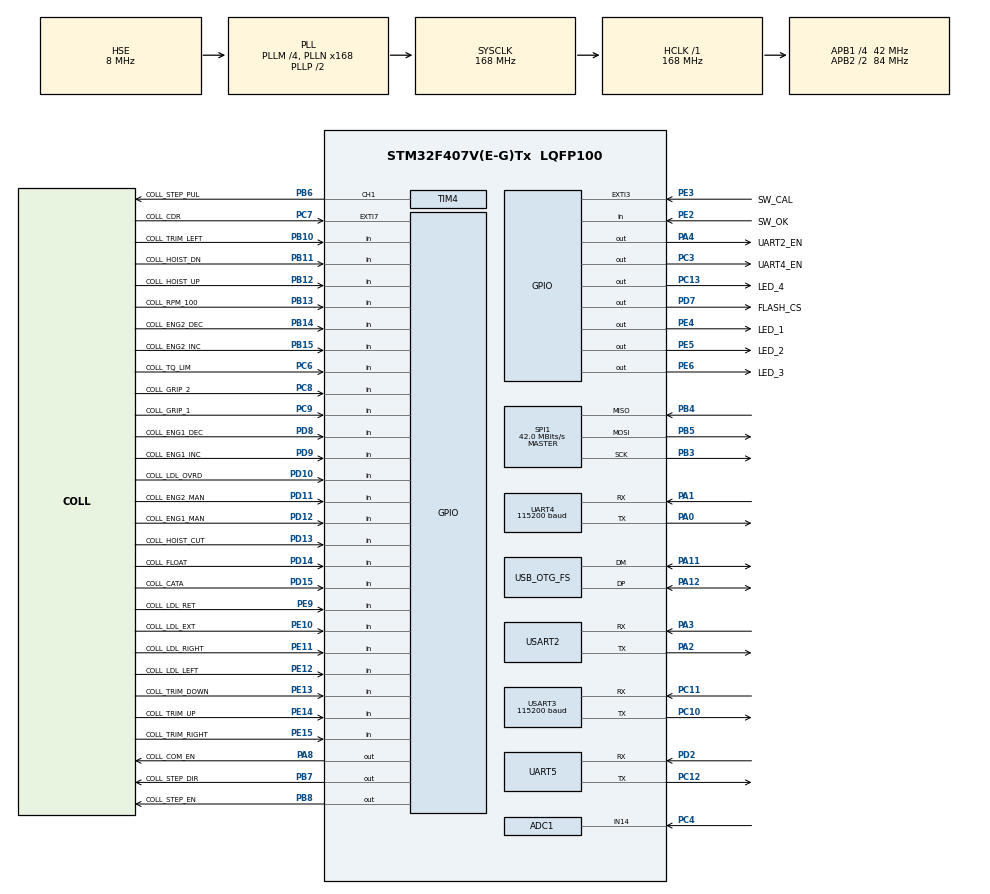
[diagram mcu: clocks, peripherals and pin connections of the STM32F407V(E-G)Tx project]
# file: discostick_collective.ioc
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ADC1.Channel-2\#ChannelRegularConversion=ADC_CHANNEL_14
ADC1.ContinuousConvMode=ENABLE
ADC1.DMAContinuousRequests=ENABLE
ADC1.EOCSelection=ADC_EOC_SEQ_CONV
ADC1.NbrOfConversion=1
ADC1.NbrOfConversionFlag=1
ADC1.Rank-2\#ChannelRegularConversion=1
ADC1.SamplingTime-2\#ChannelRegularConversion=ADC_SAMPLETIME_112CYCLES
ADC1.master=1
Dma.ADC1.4.Direction=DMA_PERIPH_TO_MEMORY
Dma.ADC1.4.FIFOMode=DMA_FIFOMODE_DISABLE
Dma.ADC1.4.Instance=DMA2_Stream0
Dma.ADC1.4.MemDataAlignment=DMA_MDATAALIGN_HALFWORD
Dma.ADC1.4.MemInc=DMA_MINC_ENABLE
Dma.ADC1.4.Mode=DMA_CIRCULAR
Dma.ADC1.4.PeriphDataAlignment=DMA_PDATAALIGN_HALFWORD
Dma.ADC1.4.PeriphInc=DMA_PINC_DISABLE
Dma.ADC1.4.Priority=DMA_PRIORITY_HIGH
Dma.Request0=USART3_RX
Dma.Request1=USART3_TX
Dma.Request2=UART4_RX
Dma.Request3=UART4_TX
Dma.Request4=ADC1
Dma.Request5=USART2_RX
Dma.Request6=USART2_TX
Dma.UART4_RX.2.Direction=DMA_PERIPH_TO_MEMORY
Dma.UART4_RX.2.FIFOMode=DMA_FIFOMODE_DISABLE
Dma.UART4_RX.2.Instance=DMA1_Stream2
Dma.UART4_RX.2.MemDataAlignment=DMA_MDATAALIGN_BYTE
Dma.UART4_RX.2.MemInc=DMA_MINC_ENABLE
Dma.UART4_RX.2.Mode=DMA_CIRCULAR
Dma.UART4_RX.2.PeriphDataAlignment=DMA_PDATAALIGN_BYTE
Dma.UART4_RX.2.PeriphInc=DMA_PINC_DISABLE
Dma.UART4_RX.2.Priority=DMA_PRIORITY_LOW
Dma.UART4_TX.3.Direction=DMA_MEMORY_TO_PERIPH
Dma.UART4_TX.3.FIFOMode=DMA_FIFOMODE_DISABLE
Dma.UART4_TX.3.Instance=DMA1_Stream4
Dma.UART4_TX.3.MemDataAlignment=DMA_MDATAALIGN_BYTE
Dma.UART4_TX.3.MemInc=DMA_MINC_ENABLE
Dma.UART4_TX.3.Mode=DMA_NORMAL
Dma.UART4_TX.3.PeriphDataAlignment=DMA_PDATAALIGN_BYTE
Dma.UART4_TX.3.PeriphInc=DMA_PINC_DISABLE
Dma.UART4_TX.3.Priority=DMA_PRIORITY_LOW
Dma.USART2_RX.5.Direction=DMA_PERIPH_TO_MEMORY
Dma.USART2_RX.5.FIFOMode=DMA_FIFOMODE_DISABLE
Dma.USART2_RX.5.Instance=DMA1_Stream5
Dma.USART2_RX.5.MemDataAlignment=DMA_MDATAALIGN_BYTE
Dma.USART2_RX.5.MemInc=DMA_MINC_ENABLE
Dma.USART2_RX.5.Mode=DMA_CIRCULAR
Dma.USART2_RX.5.PeriphDataAlignment=DMA_PDATAALIGN_BYTE
Dma.USART2_RX.5.PeriphInc=DMA_PINC_DISABLE
Dma.USART2_RX.5.Priority=DMA_PRIORITY_LOW
Dma.USART2_TX.6.Direction=DMA_MEMORY_TO_PERIPH
Dma.USART2_TX.6.FIFOMode=DMA_FIFOMODE_DISABLE
Dma.USART2_TX.6.Instance=DMA1_Stream6
Dma.USART2_TX.6.MemDataAlignment=DMA_MDATAALIGN_BYTE
Dma.USART2_TX.6.MemInc=DMA_MINC_ENABLE
Dma.USART2_TX.6.Mode=DMA_NORMAL
Dma.USART2_TX.6.PeriphDataAlignment=DMA_PDATAALIGN_BYTE
Dma.USART2_TX.6.PeriphInc=DMA_PINC_DISABLE
Dma.USART2_TX.6.Priority=DMA_PRIORITY_LOW
Dma.USART3_RX.0.Direction=DMA_PERIPH_TO_MEMORY
Dma.USART3_RX.0.FIFOMode=DMA_FIFOMODE_DISABLE
Dma.USART3_RX.0.Instance=DMA1_Stream1
Dma.USART3_RX.0.MemDataAlignment=DMA_MDATAALIGN_BYTE
Dma.USART3_RX.0.MemInc=DMA_MINC_ENABLE
Dma.USART3_RX.0.Mode=DMA_CIRCULAR
Dma.USART3_RX.0.PeriphDataAlignment=DMA_PDATAALIGN_BYTE
Dma.USART3_RX.0.PeriphInc=DMA_PINC_DISABLE
Dma.USART3_RX.0.Priority=DMA_PRIORITY_LOW
Dma.USART3_TX.1.Direction=DMA_MEMORY_TO_PERIPH
Dma.USART3_TX.1.FIFOMode=DMA_FIFOMODE_DISABLE
Dma.USART3_TX.1.Instance=DMA1_Stream3
Dma.USART3_TX.1.MemDataAlignment=DMA_MDATAALIGN_BYTE
Dma.USART3_TX.1.MemInc=DMA_MINC_ENABLE
Dma.USART3_TX.1.Mode=DMA_NORMAL
Dma.USART3_TX.1.PeriphDataAlignment=DMA_PDATAALIGN_BYTE
Dma.USART3_TX.1.PeriphInc=DMA_PINC_DISABLE
Dma.USART3_TX.1.Priority=DMA_PRIORITY_LOW
Mcu.Family=STM32F4
Mcu.Name=STM32F407V(E-G)Tx
Mcu.Package=LQFP100
NVIC.ADC_IRQn=true\:0\:0\:false\:false\:true\:true\:true\:true
NVIC.DMA1_Stream1_IRQn=true\:0\:0\:false\:false\:true\:false\:true\:true
NVIC.DMA1_Stream2_IRQn=true\:0\:0\:false\:false\:true\:false\:true\:true
NVIC.DMA1_Stream3_IRQn=true\:0\:0\:false\:false\:true\:false\:true\:true
NVIC.DMA1_Stream4_IRQn=true\:0\:0\:false\:false\:true\:false\:true\:true
NVIC.DMA1_Stream5_IRQn=true\:0\:0\:false\:false\:true\:false\:true\:true
NVIC.DMA1_Stream6_IRQn=true\:0\:0\:false\:false\:true\:false\:true\:true
NVIC.DMA2_Stream0_IRQn=true\:0\:0\:false\:false\:true\:false\:true\:true
NVIC.EXTI3_IRQn=true\:0\:0\:false\:false\:true\:true\:true\:true
NVIC.EXTI9_5_IRQn=true\:0\:0\:false\:false\:true\:true\:true\:true
NVIC.OTG_FS_IRQn=true\:0\:0\:false\:false\:true\:false\:true\:true
NVIC.PriorityGroup=NVIC_PRIORITYGROUP_4
NVIC.TIM1_TRG_COM_TIM11_IRQn=true\:0\:0\:false\:false\:true\:true\:true\:true
NVIC.UART4_IRQn=true\:0\:0\:false\:false\:true\:true\:true\:true
NVIC.USART2_IRQn=true\:0\:0\:false\:false\:true\:true\:true\:true
NVIC.USART3_IRQn=true\:0\:0\:false\:false\:true\:true\:true\:true
PA0-WKUP.Mode=Asynchronous
PA0-WKUP.Signal=UART4_TX
PA1.Mode=Asynchronous
PA1.Signal=UART4_RX
PA10.Signal=USART1_RX
PA11.Mode=Device_Only
PA11.Signal=USB_OTG_FS_DM
PA12.Mode=Device_Only
PA12.Signal=USB_OTG_FS_DP
PA13.Mode=Serial_Wire
PA13.Signal=SYS_JTMS-SWDIO
PA14.Mode=Serial_Wire
PA14.Signal=SYS_JTCK-SWCLK
PA2.Mode=Asynchronous
PA2.Signal=USART2_TX
PA3.Mode=Asynchronous
PA3.Signal=USART2_RX
PA4.GPIO_Label=UART2_EN
PA4.Signal=GPIO_Output
PA8.GPIO_Label=COLL_COM_EN
PA8.Signal=GPIO_Output
PA9.Signal=USART1_TX
PB10.GPIO_Label=COLL_TRIM_LEFT
PB10.Signal=GPIO_Input
PB11.GPIO_Label=COLL_HOIST_DN
PB11.Signal=GPIO_Input
PB12.GPIO_Label=COLL_HOIST_UP
PB12.Signal=GPIO_Input
PB13.GPIO_Label=COLL_RPM_100
PB13.Signal=GPIO_Input
PB14.GPIO_Label=COLL_ENG2_DEC
PB14.Signal=GPIO_Input
PB15.GPIO_Label=COLL_ENG2_INC
PB15.Signal=GPIO_Input
PB3.Mode=Full_Duplex_Master
PB3.Signal=SPI1_SCK
PB4.Mode=Full_Duplex_Master
PB4.Signal=SPI1_MISO
PB5.Mode=Full_Duplex_Master
PB5.Signal=SPI1_MOSI
PB6.GPIO_Label=COLL_STEP_PUL
PB6.Signal=S_TIM4_CH1
PB7.GPIO_Label=COLL_STEP_DIR
PB7.Signal=GPIO_Output
PB8.GPIO_Label=COLL_STEP_EN
PB8.Signal=GPIO_Output
PC10.Mode=Asynchronous
PC10.Signal=USART3_TX
PC11.Mode=Asynchronous
PC11.Signal=USART3_RX
PC12.Mode=Asynchronous
PC12.Signal=UART5_TX
PC13-ANTI_TAMP.GPIO_Label=LED_4
PC13-ANTI_TAMP.GPIO_PuPd=GPIO_PULLUP
PC13-ANTI_TAMP.Signal=GPIO_Output
PC3.GPIO_Label=UART4_EN
PC3.Signal=GPIO_Output
PC4.Signal=ADCx_IN14
PC5.Signal=ADCx_IN15
PC6.GPIO_Label=COLL_TQ_LIM
PC6.Signal=GPIO_Input
PC7.GPIO_Label=COLL_CDR
PC7.GPIO_ModeDefaultEXTI=GPIO_MODE_IT_RISING_FALLING
PC7.GPIO_PuPd=GPIO_PULLUP
PC7.Signal=GPXTI7
PC8.GPIO_Label=COLL_GRIP_2
PC8.Signal=GPIO_Input
PC9.GPIO_Label=COLL_GRIP_1
PC9.Signal=GPIO_Input
PD10.GPIO_Label=COLL_LDL_OVRD
PD10.Signal=GPIO_Input
PD11.GPIO_Label=COLL_ENG2_MAN
PD11.Signal=GPIO_Input
PD12.GPIO_Label=COLL_ENG1_MAN
PD12.Signal=GPIO_Input
PD13.GPIO_Label=COLL_HOIST_CUT
PD13.Signal=GPIO_Input
PD14.GPIO_Label=COLL_FLOAT
PD14.Signal=GPIO_Input
PD15.GPIO_Label=COLL_CATA
PD15.Signal=GPIO_Input
PD2.Mode=Asynchronous
PD2.Signal=UART5_RX
PD7.GPIO_Label=FLASH_CS
PD7.Signal=GPIO_Output
PD8.GPIO_Label=COLL_ENG1_DEC
PD8.Signal=GPIO_Input
PD9.GPIO_Label=COLL_ENG1_INC
PD9.Signal=GPIO_Input
PE10.GPIO_Label=COLL_LDL_EXT
PE10.Signal=GPIO_Input
PE11.GPIO_Label=COLL_LDL_RIGHT
PE11.Signal=GPIO_Input
PE12.GPIO_Label=COLL_LDL_LEFT
PE12.Signal=GPIO_Input
PE13.GPIO_Label=COLL_TRIM_DOWN
PE13.Signal=GPIO_Input
PE14.GPIO_Label=COLL_TRIM_UP
PE14.Signal=GPIO_Input
PE15.GPIO_Label=COLL_TRIM_RIGHT
PE15.Signal=GPIO_Input
PE2.GPIO_Label=SW_OK
PE2.GPIO_PuPd=GPIO_PULLUP
PE2.Signal=GPIO_Input
PE3.GPIO_Label=SW_CAL
PE3.GPIO_ModeDefaultEXTI=GPIO_MODE_IT_FALLING
PE3.GPIO_PuPd=GPIO_PULLUP
PE3.Signal=GPXTI3
PE4.GPIO_Label=LED_1
PE4.GPIO_PuPd=GPIO_PULLUP
PE4.Signal=GPIO_Output
PE5.GPIO_Label=LED_2
PE5.GPIO_PuPd=GPIO_PULLUP
PE5.Signal=GPIO_Output
PE6.GPIO_Label=LED_3
PE6.GPIO_PuPd=GPIO_PULLUP
PE6.Signal=GPIO_Output
PE9.GPIO_Label=COLL_LDL_RET
PE9.Signal=GPIO_Input
PH0-OSC_IN.Mode=HSE-External-Oscillator
PH0-OSC_IN.Signal=RCC_OSC_IN
PH1-OSC_OUT.Mode=HSE-External-Oscillator
PH1-OSC_OUT.Signal=RCC_OSC_OUT
ProjectManager.HeapSize=0x200
ProjectManager.StackSize=0x400
ProjectManager.TargetToolchain=STM32CubeIDE
RCC.48MHZClocksFreq_Value=48000000
RCC.AHBFreq_Value=168000000
RCC.APB1CLKDivider=RCC_HCLK_DIV4
RCC.APB1Freq_Value=42000000
RCC.APB1TimFreq_Value=84000000
RCC.APB2CLKDivider=RCC_HCLK_DIV2
RCC.APB2Freq_Value=84000000
RCC.APB2TimFreq_Value=168000000
RCC.CortexFreq_Value=168000000
RCC.HCLKFreq_Value=168000000
RCC.HSE_VALUE=8000000
RCC.HSI_VALUE=16000000
RCC.LSE_VALUE=32768
RCC.PLLM=4
RCC.PLLN=168
RCC.PLLQ=7
RCC.SYSCLKFreq_VALUE=168000000
RCC.SYSCLKSource=RCC_SYSCLKSOURCE_PLLCLK
RCC.VCOOutputFreq_Value=336000000
SH.ADCx_IN14.0=ADC1_IN14,IN14
SH.ADCx_IN15.0=ADC1_IN15
SH.S_TIM4_CH1.0=TIM4_CH1,PWM Generation1 CH1
SPI1.CalculateBaudRate=42.0 MBits/s
SPI1.Direction=SPI_DIRECTION_2LINES
SPI1.Mode=SPI_MODE_MASTER
SPI1.VirtualType=VM_MASTER
TIM11.AutoReloadPreload=TIM_AUTORELOAD_PRELOAD_ENABLE
TIM11.Period=50
TIM11.Prescaler=8400-1
TIM4.Channel-PWM\ Generation1\ CH1=TIM_CHANNEL_1
TIM4.OCPolarity_1=TIM_OCPOLARITY_LOW
TIM4.Period=50-1
TIM4.Prescaler=84-1
TIM4.Pulse-PWM\ Generation1\ CH1=25
TIM4.TIM_MasterOutputTrigger=TIM_TRGO_UPDATE
TIM8.CounterMode=TIM_COUNTERMODE_DOWN
TIM8.Period=2-1
TIM8.TIM_MasterOutputTrigger=TIM_TRGO_ENABLE
UART4.BaudRate=115200
UART4.VirtualMode=Asynchronous
UART5.VirtualMode=Asynchronous
USART2.VirtualMode=VM_ASYNC
USART3.BaudRate=115200
USART3.VirtualMode=VM_ASYNC
USB_DEVICE.CLASS_NAME_FS=CDC
USB_DEVICE.PRODUCT_STRING_CDC_FS=Discostick_Collective_COM
USB_DEVICE.VirtualMode-CDC_FS=Cdc
USB_DEVICE.VirtualModeFS=Cdc_FS
USB_OTG_FS.VirtualMode=Device_Only
VP_CRC_VS_CRC.Mode=CRC_Activate
VP_TIM11_VS_ClockSourceINT.Mode=Enable_Timer
VP_TIM1_VS_ClockSourceINT.Mode=Internal
VP_TIM4_VS_ClockSourceINT.Mode=Internal
VP_TIM4_VS_ClockSourceITR.Mode=TriggerSource_ITR3
VP_TIM4_VS_ControllerModeGated.Mode=Gated Mode
VP_TIM8_VS_ClockSourceITR.Mode=TriggerSource_ITR2
VP_TIM8_VS_ControllerModeClock.Mode=Clock Mode
VP_TIM8_VS_OPM.Mode=OPM_bit
VP_USB_DEVICE_VS_USB_DEVICE_CDC_FS.Mode=CDC_FS
board=custom

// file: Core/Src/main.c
/* USER CODE BEGIN Header */
/**
  ******************************************************************************
  * @file           : main.c
  * @brief          : Main program body
  ******************************************************************************
  * @attention
  *
  * Copyright (c) 2025 STMicroelectronics.
  * All rights reserved.
  *
  * This software is licensed under terms that can be found in the LICENSE file
  * in the root directory of this software component.
  * If no LICENSE file comes with this software, it is provided AS-IS.
  *
  ******************************************************************************
  */
/* USER CODE END Header */
#include "main.h"
#include "adc.h"
#include "crc.h"
#include "dma.h"
#include "spi.h"
#include "tim.h"
#include "usart.h"
#include "usb_device.h"
#include "gpio.h"

/* USER CODE BEGIN Includes */
#include <stdbool.h>
#include <stdio.h>
#include <stdint.h>
#include <string.h>

#include "logger.h"
#include "com_packet.h"
#include "stepper.h"
#include "axis_control.h"
#include "input_filter.h"
#include "lfs_conf.h"
#include "dev_id_strings.h"
#include "uart.h"
#include "bus.h"
#include "spi_bus.h"

#define LOG_PREFIX  "[thrust]"
/* USER CODE END Includes */

/* USER CODE BEGIN PTD */
/*
typedef struct uart_port_t  {
    uart_handle_t* uart;
    com_packet_t* cpacket;
    com_packet_t* lpacket;
} uart_port_t;
*/
union collective_data_t	{
	collective_report_t report;
	uint16_t raw[3];
} collective_data;
const uint8_t dev_com_addr = COM_ADDR_COLL;
/* USER CODE END PTD */

/* USER CODE BEGIN PV */
volatile uint16_t adc_buffer[NUM_ADC_CHANNEL] = {0};
volatile bool IRQ_Calibrate_Flag;
volatile bool IRQ_UART_Flag;
volatile uint32_t cdr_debounce_timer = 0;

axis_calibration_factors_t thrust_calibrations = {0};
input_filter_t thrust_filter;
stepper_handle_t thrust_motor;
bus_t f_handle;
spi_bus_ctx_t spi_ctx = { &hspi1, (void*)FLASH_CS_GPIO_Port, (uint16_t)FLASH_CS_Pin, 500 };
com_packet_t packet1, packet2, packet3, packet4, packet5, packet6;
com_packet_t *cyclic_cur_packet, *cyclic_prev_packet, *console_cur_packet, *console_prev_packet, *report_packet, *special_packet = (com_packet_t*)NULL;
static uart_handle_t uart_4,uart_3,uart_2;
uart_handle_t *uart_cyclic, *uart_log, *uart_console = (uart_handle_t*)NULL;
uart_port_t cyclic_port, console_port;
/* USER CODE END PV */

void SystemClock_Config(void);
/* USER CODE BEGIN PFP */
void HAL_ADC_ConvCpltCallback(ADC_HandleTypeDef *hadc);
void HAL_TIM_PeriodElapsedCallback(TIM_HandleTypeDef *htim);
void HAL_GPIO_EXTI_Callback(uint16_t GPIO_Pin);

void panic(void);
static void print_boot_msg(void);
uint32_t crc_cb(uint32_t* buffer, uint32_t size);

void init_gpio_state(void);
void init_steppers(void);
void init_filesystem(void);
void init_com_packets(void);
void init_collective_input(void);

void update_collective_input(void);
void update_uart_cyclic(void);
void update_uart_port(uart_port_t*);
void update_stepper(void);

void send_report(com_addr_t);
void send_ack(com_addr_t,uart_handle_t*);
void send_nack(com_addr_t,uart_handle_t*);

void calibration_routine(void);
void calibrate_axis(axis_calibration_factors_t* cal, volatile uint16_t* adc_buf);
/* USER CODE END PFP */

int main(void)
{

  /* MCU Configuration--------------------------------------------------------*/

  /* Reset of all peripherals, Initializes the Flash interface and the Systick. */
  HAL_Init();

  /* Configure the system clock */
  SystemClock_Config();

  /* Initialize all configured peripherals */
  MX_GPIO_Init();
  MX_DMA_Init();
  MX_ADC1_Init();
  MX_SPI1_Init();
  MX_TIM4_Init();
  MX_USART3_UART_Init();
  MX_CRC_Init();
  MX_UART4_Init();
  MX_TIM8_Init();
  MX_UART5_Init();
  MX_USART2_UART_Init();
  MX_USB_DEVICE_Init();
  MX_TIM1_Init();
  MX_TIM11_Init();
  /* USER CODE BEGIN 2 */
    print_boot_msg();
    uart_cyclic = &uart_4;
    uart_log = &uart_3;
    uart_console = &uart_2;

    init_gpio_state();
    if(UART_OK != uart_init(uart_console, &huart2)){
        uart_deinit(uart_console);
      if(UART_OK != uart_init(uart_console, &huart2))    {
        uart_deinit(uart_console);
          uart_log = NULL;
          log_error("%sFailed to initialize console UART",LOG_PREFIX);
        panic();
      }
    }
    if(UART_OK != uart_init(uart_log, &huart3)){
        uart_deinit(uart_log);
      if(UART_OK != uart_init(uart_log, &huart3))    {
        uart_deinit(uart_log);
          uart_log = NULL;
          log_error("%sFailed to initialize log UART",LOG_PREFIX);
        panic();
      }
    }
    if(UART_OK != uart_init(uart_cyclic, &huart4)){
        uart_deinit(uart_cyclic);
      if(UART_OK != uart_init(uart_cyclic, &huart4))    {
          log_error("%sFailed to initialize cyclic UART",LOG_PREFIX);
        panic();
      }
    }

    HAL_ADC_Start_DMA(&hadc1, (uint32_t*)adc_buffer, NUM_ADC_CHANNEL);
    HAL_TIM_Base_Start(&htim8);
    HAL_TIM_PWM_Start(&htim4, TIM_CHANNEL_1);

    init_steppers();
    init_filesystem();
    init_collective_input();

    cyclic_cur_packet      = &packet1;
    cyclic_prev_packet     = &packet2;
    console_cur_packet     = &packet3;
    console_prev_packet    = &packet4;
    report_packet          = &packet5;
    special_packet         = &packet6;
    init_com_packets();

    console_port.uart = uart_console;
    console_port.cpacket = console_cur_packet;
    console_port.lpacket = console_prev_packet;
    cyclic_port.uart = uart_cyclic;
    cyclic_port.cpacket = cyclic_cur_packet;
    cyclic_port.lpacket = cyclic_prev_packet;

    log_info("%sAll initialization complete, jumping to main program loop",LOG_PREFIX);
    HAL_TIM_Base_Start_IT(&htim11);
  /* USER CODE END 2 */

  /* Infinite loop */
  /* USER CODE BEGIN WHILE */

  while (1)
  {
    if(IRQ_Calibrate_Flag)  {
        calibration_routine();
    }

    update_uart_port(&cyclic_port);
    update_uart_port(&console_port);
    update_stepper();

    if(IRQ_UART_Flag)  {
       update_collective_input();
       send_report(COM_ADDR_CYCLIC);
       send_report(COM_ADDR_CTRL);
       IRQ_UART_Flag = false;
       HAL_TIM_Base_Start_IT(&htim11);
    }
    /* USER CODE END WHILE */

  }
}

void SystemClock_Config(void)
{
  RCC_OscInitTypeDef RCC_OscInitStruct = {0};
  RCC_ClkInitTypeDef RCC_ClkInitStruct = {0};

  /** Configure the main internal regulator output voltage
  */
  __HAL_RCC_PWR_CLK_ENABLE();
  __HAL_PWR_VOLTAGESCALING_CONFIG(PWR_REGULATOR_VOLTAGE_SCALE1);

  /** Initializes the RCC Oscillators according to the specified parameters
  * in the RCC_OscInitTypeDef structure.
  */
  RCC_OscInitStruct.OscillatorType = RCC_OSCILLATORTYPE_HSE;
  RCC_OscInitStruct.HSEState = RCC_HSE_ON;
  RCC_OscInitStruct.PLL.PLLState = RCC_PLL_ON;
  RCC_OscInitStruct.PLL.PLLSource = RCC_PLLSOURCE_HSE;
  RCC_OscInitStruct.PLL.PLLM = 4;
  RCC_OscInitStruct.PLL.PLLN = 168;
  RCC_OscInitStruct.PLL.PLLP = RCC_PLLP_DIV2;
  RCC_OscInitStruct.PLL.PLLQ = 7;
  if (HAL_RCC_OscConfig(&RCC_OscInitStruct) != HAL_OK)
  {
    Error_Handler();
  }

  /** Initializes the CPU, AHB and APB buses clocks
  */
  RCC_ClkInitStruct.ClockType = RCC_CLOCKTYPE_HCLK|RCC_CLOCKTYPE_SYSCLK
                              |RCC_CLOCKTYPE_PCLK1|RCC_CLOCKTYPE_PCLK2;
  RCC_ClkInitStruct.SYSCLKSource = RCC_SYSCLKSOURCE_PLLCLK;
  RCC_ClkInitStruct.AHBCLKDivider = RCC_SYSCLK_DIV1;
  RCC_ClkInitStruct.APB1CLKDivider = RCC_HCLK_DIV4;
  RCC_ClkInitStruct.APB2CLKDivider = RCC_HCLK_DIV2;

  if (HAL_RCC_ClockConfig(&RCC_ClkInitStruct, FLASH_LATENCY_5) != HAL_OK)
  {
    Error_Handler();
  }
}

/* USER CODE BEGIN 4 */
void HAL_ADC_ConvCpltCallback(ADC_HandleTypeDef *hadc)	{
    collective_data.report.thrust = input_filter_update(&thrust_filter, (float)apply_calibration(&thrust_calibrations, adc_buffer[0]));
}

void HAL_GPIO_EXTI_Callback(uint16_t GPIO_Pin)	{
    switch(GPIO_Pin)    {
        case SW_CAL_Pin:
            IRQ_Calibrate_Flag = true;
            break;
        case COLL_CDR_Pin:
     /*   	if(HAL_GetTick()-cdr_debounce_timer >= 250)	{
        	cdr_debounce_timer = HAL_GetTick();
            if(MAG_REL_PRESSED(collective_data.report.buttons))  {
                    stepper_disable(&thrust_motor);
            }
            else    {
                    stepper_enable(&thrust_motor);
            }
        	}
            */
            break;
        default:
            break;
    }
}

void HAL_TIM_PeriodElapsedCallback(TIM_HandleTypeDef *htim)    {
    switch((uint32_t)htim->Instance)    {
        case TIM11_BASE:
            IRQ_UART_Flag = true;
            break;
        default:
            break;
    }
}

void panic(void)	{
	uint64_t time = HAL_GetTick();
	while(1)	{
		while(HAL_GetTick()-time < 250)	{;;}
			if(HAL_GetTick() - time > 500 ){
				HAL_GPIO_TogglePin(LED_4_GPIO_Port, LED_4_Pin);
				time = HAL_GetTick();
			}
		}
}

static void print_boot_msg(void) {
    log_printf("\n");
	log_printf("\033[0;37mBooting from internal flash...\n");
    uint32_t uuid[3] =  {HAL_GetUIDw0(), HAL_GetUIDw1(), HAL_GetUIDw2()};
    uint32_t devid = HAL_GetDEVID();
    log_printf("\033[0;37mDevice family: %s, Device revision: 0x%04x\n", get_stm32_family_str((uint16_t)(devid & 0x0FFF)),(uint16_t)((devid >> 16) & 0xFFFF));
    log_printf("\033[0;37mDevice UID: %lu%lu%lu\n", uuid[0], uuid[1], uuid[2]);
	RCC_ClkInitTypeDef clk;
	uint32_t flashLatency;
	HAL_RCC_GetClockConfig(&clk, &flashLatency);
	uint32_t sysclk = HAL_RCC_GetSysClockFreq();
	uint32_t hclk = HAL_RCC_GetHCLKFreq();
	uint32_t pclk1 = HAL_RCC_GetPCLK1Freq();
	uint32_t pclk2 = HAL_RCC_GetPCLK2Freq();
    log_printf("\033[0;37msysclk: %lu, hclk: %lu, pclk1: %lu, pclk2: %lu, flash_latency: %lu\n",
                sysclk, hclk, pclk1, pclk2, flashLatency);
    log_info("%sHAL initialization complete",LOG_PREFIX);
}

uint32_t crc_cb(uint32_t* buffer, uint32_t size)    {
    return HAL_CRC_Calculate(&hcrc, buffer, size);
}

void init_com_packets(void) {
    if(false == com_packet_init(COM_ADDR_COLL, crc_cb, HAL_GetTick))   {
        log_error("%sFailed to initialize com packet interface",LOG_PREFIX);
    }
    else    {
        com_packet_clear(cyclic_cur_packet);
        com_packet_clear(cyclic_prev_packet);
        com_packet_clear(console_cur_packet);
        com_packet_clear(console_prev_packet);
        com_packet_clear(report_packet);
        com_packet_clear(special_packet);
    }
}

void init_filesystem(void)  {
    HAL_Delay(10); // Give flash module some time to come up
    spi_bus_init(&f_handle, &spi_ctx);
    if(init_flashfs(&f_handle)<0)	{
        log_error("%sFailed to initialize filesystem. It may need to be reformatted.\nReformat now? [y/n]:", LOG_PREFIX);
        uint8_t response[1] = {0};
        HAL_UART_AbortReceive(&huart3);
        HAL_UART_Receive(&huart3, response, 1, 10000);
        if(response[0]=='y'||response[0]=='Y')  {
            log_warning("%sReformatting filesystem...",LOG_PREFIX);
            format_flashfs(&f_handle);
            if(init_flashfs(&f_handle)<0)	{
                log_error("%sFailed to initialize filesystem after reformatting. Cannot continue, halting execution.",LOG_PREFIX);
                HARDFAULT_HANDLING_ASM();
            }
        }
        else    {
            log_warning("%sNot reformatting. Attempting to restart filesystem again...",LOG_PREFIX);
            if(init_flashfs(&f_handle)<0)	{
                log_error("%sFailed to initialize filesystem on second attempt. Cannot continue, halting execution.",LOG_PREFIX);
                HARDFAULT_HANDLING_ASM();
            }
        }
    }
    log_info("%sFilesystem initialized",LOG_PREFIX);
}

void init_gpio_state(void)	{
	  HAL_GPIO_WritePin(FLASH_CS_GPIO_Port, FLASH_CS_Pin, GPIO_PIN_SET);
      HAL_GPIO_WritePin(UART2_EN_GPIO_Port,UART2_EN_Pin, GPIO_PIN_SET);
      HAL_GPIO_WritePin(UART4_EN_GPIO_Port,UART4_EN_Pin, GPIO_PIN_SET);
	  HAL_GPIO_WritePin(LED_1_GPIO_Port, LED_1_Pin, GPIO_PIN_SET);
	  HAL_GPIO_WritePin(LED_2_GPIO_Port, LED_2_Pin, GPIO_PIN_SET);
	  HAL_GPIO_WritePin(LED_3_GPIO_Port, LED_3_Pin, GPIO_PIN_SET);
	  HAL_GPIO_WritePin(LED_4_GPIO_Port, LED_4_Pin, GPIO_PIN_SET);
}

void init_steppers(void)	{

	  thrust_motor.en_gpio_port     = COLL_STEP_EN_GPIO_Port;
	  thrust_motor.en_gpio_pin      = COLL_STEP_EN_Pin;
	  thrust_motor.dir_gpio_port    = COLL_STEP_DIR_GPIO_Port;
	  thrust_motor.dir_gpio_pin     = COLL_STEP_DIR_Pin;
	  thrust_motor.pul_gpio_port    = COLL_STEP_PUL_GPIO_Port;
	  thrust_motor.pul_gpio_pin     = COLL_STEP_PUL_Pin;
	  thrust_motor.mode             = MICROSTEP_16;
	  thrust_motor.timer            = &htim8;
      thrust_motor.master_enable    = true;

	  stepper_enable(&thrust_motor);
}

void init_collective_input(void)	{
	  collective_data.report.thrust = 0;

	  thrust_calibrations.logical_min = 0;
	  thrust_calibrations.logical_max = AXIS_RANGE;
	  thrust_calibrations.is_symmetric = false;
      uint8_t cal_factor[sizeof(axis_calibration_factors_t)];
      int32_t result = load_calibration(axis_thrust, cal_factor , sizeof(cal_factor));
      if(result == -2)  {   // LFS_ERR_NO_ENT defined in lfs.h
          log_warning("%sNo entry when opening thrust calibration, attempting to create file now...",LOG_PREFIX);
          result = save_calibration(axis_thrust, (uint8_t*)&cal_factor_template, sizeof(cal_factor_template));
          if(result <0) {
              log_error("%sCreation of calibration file failed with error: %d",LOG_PREFIX, result);
          }
          else  {
              log_warning("%sSuccess!",LOG_PREFIX);
              set_calibration(&thrust_calibrations, (uint8_t*)&cal_factor_template, sizeof(cal_factor_template));
              input_filter_init(&thrust_filter, thrust_calibrations.alpha);
          }
      }
      else if(result < 0)    {
          log_error("%sError opening thrust calibration",LOG_PREFIX);
      }
      else  {
          log_info("%sLoaded thrust calibration file",LOG_PREFIX);
          set_calibration(&thrust_calibrations, cal_factor, sizeof(cal_factor));
          thrust_calibrations.is_symmetric    = 0;
          thrust_calibrations.logical_min     = 0;
          thrust_calibrations.logical_max     = 2048;
          thrust_calibrations.zero            = thrust_calibrations.physical_min;
          if(0.0f == thrust_calibrations.alpha)   {
              thrust_calibrations.alpha = THRUST_ALPHA;
          }
          input_filter_init(&thrust_filter, thrust_calibrations.alpha);
      }

}

void update_collective_input(void)  {
    collective_data.report.buttons = 0;
    // Used GPIOs are sequential, this bitshifts the used pins from each port
    // into a single variable, 25 bits in total resulting in the following:
    // 31   27   23   19   15   11   7    3  0
    // xxxx xxxB BBBB BCCC CEEE EEEE DDDD DDDD
    collective_data.report.buttons =  ((uint32_t)(GPIOB->IDR & GPIOB_BITMASK) << GPIOB_OFFSET)
                                    | ((uint32_t)(GPIOC->IDR & GPIOC_BITMASK) << GPIOC_OFFSET)
                                    | ((uint32_t)(GPIOD->IDR & GPIOD_BITMASK) >> GPIOD_OFFSET)
                                    | ((uint32_t)(GPIOE->IDR & GPIOE_BITMASK) >> GPIOE_OFFSET);
    collective_data.report.buttons = (collective_data.report.buttons ^ THRUST_BUTTON_MASK);
}

void update_uart_port(uart_port_t* port) {
    /*
     *  This is an ugly nested logic function. I thought about trying to split
     *  it up and make it easier to read, but I opted instead to just put it all
     *  in this one function to avoid making further abstractions.
     */
    if (uart_update(port->uart) == UART_RX_FAIL) {
        return;
    }
    if(port->uart->unread_bytes > 0)	{
        uint8_t temp[RX_BUFFER_SIZE] = {0};
        uint32_t bytes_read =  fifo_peek_continuous(&port->uart->rx_fifo, temp, port->uart->unread_bytes, sizeof(temp));
        com_packet_result_t result = com_packet_parse(port->cpacket,temp,bytes_read);
        if(result.type == COM_PACKET_FALSE)	{
        	return;
        }
        com_addr_t recv_addr = port->cpacket->src_addr;

        if(port->cpacket->dest_addr == dev_com_addr)    {
            switch(result.type)  {
              case COM_PACKET_NORMAL:
                fifo_push_read_index(&port->uart->rx_fifo, result.bytes_consumed);
                send_ack(recv_addr,port->uart);
                break;
              case COM_PACKET_CMD:
                  fifo_push_read_index(&port->uart->rx_fifo, result.bytes_consumed);
                  switch(com_packet_get_cmd(port->cpacket)) {
                      case CMD_CDR_EN:
                          send_ack(recv_addr,port->uart);
                          break;
                      case CMD_CDR_DS:
                          send_ack(recv_addr,port->uart);
                          break;
                      case CMD_GET_POS:
                          if(port->cpacket->payload[1] == axis_thrust)    {
                              uint8_t pos[sizeof(int16_t)+1] = {0};
                              pos[0] = axis_thrust;
                              memcpy(&pos[1], &collective_data.report.thrust, sizeof(collective_data.report.thrust));
                              com_packet_create_special(special_packet, recv_addr, COM_PACKET_POS, pos, sizeof(pos));
                              uart_write_packet(port->uart, special_packet);
                          }
                          break;
                      case CMD_GET_CAL: {
                          if(port->cpacket->payload[1] == axis_thrust)  {
                              uint8_t tmp[sizeof(axis_calibration_factors_t)+1] = {0};
                              tmp[0] = axis_thrust;
                              memcpy(&tmp[1],&thrust_calibrations,sizeof(axis_calibration_factors_t));
                              com_packet_create_special(special_packet, recv_addr, COM_PACKET_CAL_FACTOR, tmp, sizeof(tmp));
                              uart_write_packet(port->uart, special_packet);
                          }
                          break;
                      }
                      case CMD_SET_CAL: {
                          if(port->cpacket->payload_length - port->cpacket->padding - 2 >= sizeof(axis_calibration_factors_t))    {
                              axis_calibration_factors_t new_cal;
                              memcpy(&new_cal, &port->cpacket->payload[2], sizeof(axis_calibration_factors_t));
                              if(true == verify_calibration(&new_cal) && port->cpacket->payload[1] == axis_thrust)  {
                                  memcpy(&thrust_calibrations, &new_cal, sizeof(axis_calibration_factors_t));
                                  save_calibration(axis_thrust,(uint8_t*)&thrust_calibrations, sizeof(axis_calibration_factors_t));
                                  send_ack(recv_addr,port->uart);
                              }
                          }
                          else  {
                              send_nack(recv_addr,port->uart);
                          }
                          break;
                      }
                      case CMD_STEP_ON:
                          stepper_master_enable(&thrust_motor);
                          send_ack(recv_addr,port->uart);
                          break;
                      case CMD_STEP_OFF:
                          stepper_master_disable(&thrust_motor);
                          send_ack(recv_addr,port->uart);
                          break;
                      case CMD_GET_DEVS:
                          break;
                      case CMD_BAD_CMD:
                          break;
                      default:
                          break;
                  }
                      break;
                  case COM_PACKET_ACK:
                      fifo_push_read_index(&port->uart->rx_fifo, result.bytes_consumed);
                      com_packet_clear(port->cpacket);
                      break;
                  case COM_PACKET_NACK:
                      fifo_push_read_index(&port->uart->rx_fifo, result.bytes_consumed);
                      uart_write_packet(port->uart, port->lpacket);
                      break;
                  default:
                      break;
                }
        }
        else if (port->cpacket->dest_addr == COM_ADDR_PEDAL)   {
            fifo_push_read_index(&port->uart->rx_fifo, result.bytes_consumed);
            uart_write_packet(uart_cyclic, port->cpacket);

        }
        else if (port->cpacket->dest_addr == COM_ADDR_CYCLIC)   {
            fifo_push_read_index(&port->uart->rx_fifo, result.bytes_consumed);
            uart_write_packet(uart_cyclic, port->cpacket);

        }
        else if (port->cpacket->dest_addr == COM_ADDR_CTRL)    {
            fifo_push_read_index(&port->uart->rx_fifo, result.bytes_consumed);
            uart_write_packet(uart_console, port->cpacket);
        }
        memcpy(port->lpacket, port->cpacket, sizeof(com_packet_t));
    }
}
/*
void update_uart_cyclic(void)   {

  uart_update(uart_cyclic);
  if (uart_cyclic->unread_bytes > 0 )  {
      uint8_t temp[RX_BUFFER_SIZE] = {0};
      uint32_t bytes_read =  fifo_peek_continuous(&uart_cyclic->rx_fifo, temp, uart_cyclic->unread_bytes, sizeof(temp));
      packet_type_t result = com_packet_parse(cur_packet,temp,bytes_read);
      com_addr_t recv_addr = cur_packet->src_addr;
      switch(result)  {
          case COM_PACKET_FALSE:
              break;
          case COM_PACKET_NORMAL:
              fifo_push_read_index(&uart_cyclic->rx_fifo, bytes_read);
              send_ack(recv_addr);
              break;
          case COM_PACKET_CMD:
              fifo_push_read_index(&uart_cyclic->rx_fifo, bytes_read);
              switch(com_packet_get_cmd(cur_packet)) {
                  case CMD_CDR_EN:
                      send_ack(recv_addr);
                      break;
                  case CMD_CDR_DS:
                      send_ack(recv_addr);
                      break;
                  case CMD_GET_POS:
                      send_report(recv_addr);
                      break;
                  case CMD_GET_CAL: {
                      axis_t axis = cur_packet->payload[2];
                      uint8_t tmp[sizeof(axis_calibration_factors_t)+1] = {0};
                      switch(axis)  {
                          case axis_thrust:    {
                              tmp[0] = axis_thrust;
                              memcpy(&tmp[1],&thrust_calibrations,sizeof(axis_calibration_factors_t));
                              break;
                          }
                          default:
                              break;
                      }
                      com_packet_create_special(special_packet, recv_addr, COM_PACKET_CAL_FACTOR, tmp, sizeof(tmp));
                      uart_write_packet(uart_cyclic, special_packet);
                      break;
                  }
                  case CMD_SET_CAL: {
                      axis_t axis = cur_packet->payload[2];
                      if(cur_packet->payload_length - cur_packet->padding - 1 >= sizeof(axis_calibration_factors_t))    {
                          axis_calibration_factors_t new_cal;
                          memcpy(&new_cal, &cur_packet->payload[2], sizeof(axis_calibration_factors_t));
                          if(true == verify_calibration(&new_cal))  {
                              switch(axis) {
                                  case axis_thrust:
                                      memcpy(&thrust_calibrations, &new_cal, sizeof(axis_calibration_factors_t));
                                      save_calibration(axis_thrust,(uint8_t*)&thrust_calibrations, sizeof(axis_calibration_factors_t));
                                      break;
                                  default:
                                      break;
                              }
                              send_ack(recv_addr);
                          }
                          else  {
                              send_nack(recv_addr);
                          }
                      }
                      else  {
                          send_nack(recv_addr);
                      }
                      break;
                  }
                  case CMD_STEP_ON:
                      stepper_master_enable(&thrust_motor);
                      send_ack(recv_addr);
                      break;
                  case CMD_STEP_OFF:
                      stepper_master_disable(&thrust_motor);
                      send_ack(recv_addr);
                      break;
                  case CMD_GET_DEVS:
                      break;
                  case CMD_BAD_CMD:
                      break;
                  default:
                      break;
              }
              // handle the command
              break;
          case COM_PACKET_ACK:
              fifo_push_read_index(&uart_cyclic->rx_fifo, bytes_read);
              com_packet_clear(prev_packet);
              break;
          case COM_PACKET_NACK:
              fifo_push_read_index(&uart_cyclic->rx_fifo, bytes_read);
              uart_write_packet(uart_cyclic, prev_packet);
              break;
          default:
              break;
      }

  }
}
*/

void update_stepper(void)   {
    if(MAG_REL_PRESSED(collective_data.report.buttons))  {
            stepper_disable(&thrust_motor);
    }
    else    {
            stepper_enable(&thrust_motor);
    }
}

void send_report(com_addr_t addr)  {
    if(addr == COM_ADDR_CYCLIC)	{
    	com_packet_clear(report_packet);
    	com_packet_create(report_packet, addr, (uint8_t*)&collective_data.raw, sizeof(collective_data.raw));
    	uart_write_packet(uart_cyclic, report_packet);
    }
    else if(addr == COM_ADDR_CTRL)	{
    	com_packet_clear(report_packet);
    	com_packet_create(report_packet, COM_ADDR_CTRL, (uint8_t*)&collective_data.raw, sizeof(collective_data.raw));
    	uart_write_packet(uart_console, report_packet);
    }
}

void send_ack(com_addr_t addr, uart_handle_t* uart)  {
      com_packet_create_special(special_packet, addr, COM_PACKET_ACK,0,0);
      uart_write_packet(uart, special_packet);
}

void send_nack(com_addr_t addr, uart_handle_t* uart)  {
      com_packet_create_special(special_packet, addr, COM_PACKET_NACK,0,0);
      uart_write_packet(uart, special_packet);
}

void calibration_routine(void)	{
    log_info("%sAxis calibration routine initiated. Beginning thrust calibration...",LOG_PREFIX);
	  calibrate_axis(&thrust_calibrations, &adc_buffer[0]);
	  HAL_GPIO_WritePin(LED_2_GPIO_Port, LED_2_Pin, GPIO_PIN_RESET);

	  HAL_GPIO_WritePin(LED_1_GPIO_Port, LED_1_Pin, GPIO_PIN_SET);
	  HAL_GPIO_WritePin(LED_2_GPIO_Port, LED_2_Pin, GPIO_PIN_SET);
	  HAL_GPIO_WritePin(LED_4_GPIO_Port, LED_4_Pin, GPIO_PIN_SET);
	  uint64_t time = HAL_GetTick();
	  HAL_GPIO_WritePin(LED_3_GPIO_Port, LED_3_Pin, GPIO_PIN_RESET);
	  while(HAL_GetTick() - time < 100){;;}
	  time = HAL_GetTick();
	  HAL_GPIO_WritePin(LED_3_GPIO_Port, LED_3_Pin, GPIO_PIN_SET);
	  while(HAL_GetTick() - time < 100){;;}
	  time = HAL_GetTick();
	  HAL_GPIO_WritePin(LED_3_GPIO_Port, LED_3_Pin, GPIO_PIN_RESET);
	  while(HAL_GetTick() - time < 100){;;}
	  time = HAL_GetTick();
	  HAL_GPIO_WritePin(LED_3_GPIO_Port, LED_3_Pin, GPIO_PIN_SET);

      log_info("%sCalibration complete, saving results...",LOG_PREFIX);
	  int32_t result = save_calibration(axis_thrust, (uint8_t*)&thrust_calibrations, sizeof(axis_calibration_factors_t));
      if(result <0) {
          log_warning("%sFailed to save thrust calibration with error: %d",LOG_PREFIX,result);
      }
      else  {
        log_info("%sThrust calibration saved",LOG_PREFIX);
      }

      log_info("%sCalibration routine complete!",LOG_PREFIX);
	  IRQ_Calibrate_Flag = false;
}

void calibrate_axis(axis_calibration_factors_t* cal, volatile uint16_t* adc_buf)	{

	clear_calibration(cal);

	uint64_t time = HAL_GetTick();
	while(HAL_GetTick()-time < 250)	{;;}
	while(HAL_GPIO_ReadPin(SW_OK_GPIO_Port, SW_OK_Pin))	{
		if(HAL_GetTick() - time > 500 ){
			HAL_GPIO_TogglePin(LED_4_GPIO_Port, LED_4_Pin);
			time = HAL_GetTick();
		}
	}

	int16_t val1 = (int16_t)adc_buf[0];
	while(HAL_GetTick()-time < 50)	{;;}
	int16_t val2 = (int16_t)adc_buf[0];
	while(HAL_GetTick()-time < 50)	{;;}
	int16_t val3 = (int16_t)adc_buf[0];

	cal->physical_max = (val1+val2+val3)/3;
	time = HAL_GetTick();
	while(HAL_GetTick()-time < 250)	{;;}
	while(HAL_GPIO_ReadPin(SW_OK_GPIO_Port, SW_OK_Pin))	{
			if(HAL_GetTick() - time > 150 ){
				HAL_GPIO_TogglePin(LED_4_GPIO_Port, LED_4_Pin);
				time = HAL_GetTick();
			}
		}

	val1 = (int16_t)adc_buf[0];
	while(HAL_GetTick()-time < 5)	{;;}
	val2 = (int16_t)adc_buf[0];
	while(HAL_GetTick()-time < 5)	{;;}
	val3 = (int16_t)adc_buf[0];

	cal->physical_min = (val1+val2+val3)/3;
	recalculate_calibration(cal);
	HAL_GPIO_WritePin(LED_4_GPIO_Port, LED_4_Pin, GPIO_PIN_SET);
}

/*
void load_calibrations(axis_calibration_factors_t* cal[], uint8_t calibration_count)	{
	uint8_t buffer_size = 0;
	for(uint8_t i=0; i < calibration_count; i++)	{
		buffer_size += CALIBRATION_FACTOR_SIZE;
	}
	uint8_t size_offset = buffer_size / calibration_count;
	uint8_t data_buffer[buffer_size];

	w25q16_read(&flash_handle, FLASH_CALIBRATION_ADDRESS, data_buffer, buffer_size);
	for(uint8_t i=0; i< calibration_count; i++){
		set_calibration(cal[i], &data_buffer[i*size_offset], size_offset);
	}
}

void save_calibrations(axis_calibration_factors_t* cal[], uint8_t calibration_count)	{
	uint8_t buffer_size = 0;
	for(uint8_t i=0; i < calibration_count; i++)	{
		buffer_size += CALIBRATION_FACTOR_SIZE;
	}
	uint8_t size_offset = buffer_size / calibration_count;
	uint8_t data_buffer[buffer_size];

	for(uint8_t i=0; i< calibration_count; i++){
		get_calibration(cal[i], &data_buffer[i*size_offset], size_offset);
	}

	w25q16_sector_erase_4k(&flash_handle, FLASH_CALIBRATION_ADDRESS);
	uint8_t busy_flag = w25q16_read_SR1(&flash_handle)&0x01;
	uint64_t timer = HAL_GetTick();
	while(busy_flag && HAL_GetTick()-timer<200)	{
		busy_flag = w25q16_read_SR1(&flash_handle)&0x01;
	}
	w25q16_write(&flash_handle, FLASH_CALIBRATION_ADDRESS, data_buffer, buffer_size);
}
*/

#define PUTCHAR_PROTOTYPE int __io_putchar(int ch)

PUTCHAR_PROTOTYPE {
	/* Place your implementation of fputc here */
	/* e.g. write a character to the USART1 and Loop until the end of transmission */
	HAL_UART_Transmit(&huart3, (uint8_t*) &ch, 1, 0xFFFF);

	return ch;
}

int _write(int fd, char *ptr, int len) {

    if(uart_log!=NULL)  {
        uart_write(uart_log, (uint8_t*)ptr, len);
    }
    else    {
        HAL_UART_Transmit(&huart3, (uint8_t*)ptr, len, HAL_MAX_DELAY);
    }
	return len;
}

#ifdef USE_HAL_ERRORHANDLER
/* USER CODE END 4 */

void Error_Handler(void)
{
  /* USER CODE BEGIN Error_Handler_Debug */
  /* User can add his own implementation to report the HAL error return state */
  __disable_irq();
  while (1)
  {
  }
#endif
  /* USER CODE END Error_Handler_Debug */

#ifdef USE_FULL_ASSERT
/**
  * @brief  Reports the name of the source file and the source line number
  *         where the assert_param error has occurred.
  * @param  file: pointer to the source file name
  * @param  line: assert_param error line source number
  * @retval None
  */
void assert_failed(uint8_t *file, uint32_t line)
{
  /* USER CODE BEGIN 6 */
  /* User can add his own implementation to report the file name and line number,
     example: printf("Wrong parameters value: file %s on line %d\r\n", file, line) */
  /* USER CODE END 6 */
}
#endif /* USE_FULL_ASSERT */
